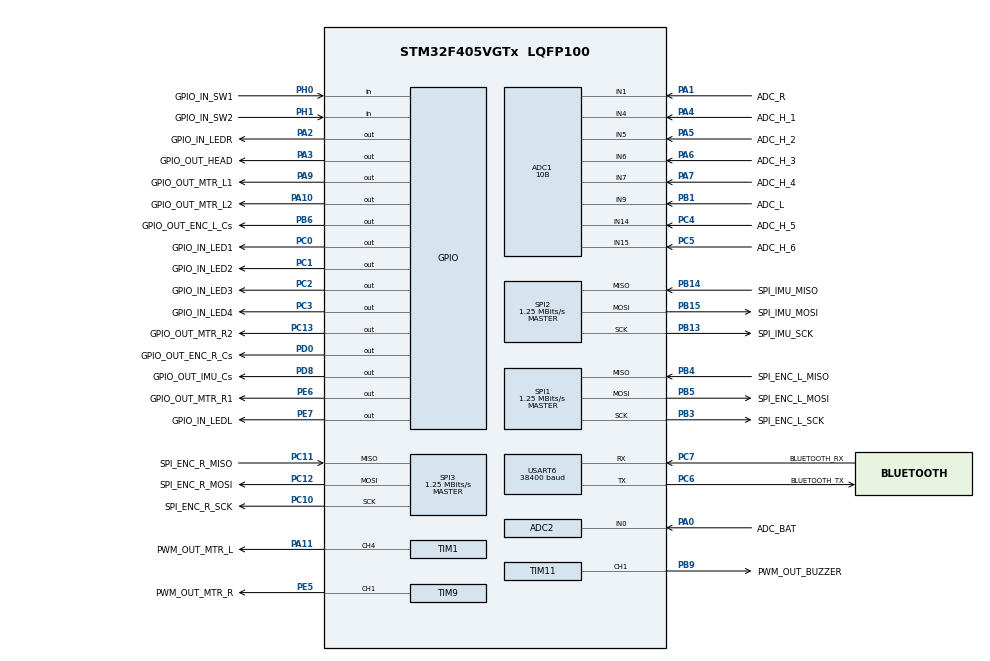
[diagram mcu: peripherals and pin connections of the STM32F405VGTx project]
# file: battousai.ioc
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ADC1.Channel-0\#ChannelRegularConversion=ADC_CHANNEL_9
ADC1.Channel-1\#ChannelRegularConversion=ADC_CHANNEL_15
ADC1.Channel-2\#ChannelRegularConversion=ADC_CHANNEL_7
ADC1.Channel-3\#ChannelRegularConversion=ADC_CHANNEL_14
ADC1.Channel-4\#ChannelRegularConversion=ADC_CHANNEL_6
ADC1.Channel-5\#ChannelRegularConversion=ADC_CHANNEL_1
ADC1.Channel-6\#ChannelRegularConversion=ADC_CHANNEL_4
ADC1.Channel-7\#ChannelRegularConversion=ADC_CHANNEL_5
ADC1.ClockPrescaler=ADC_CLOCK_SYNC_PCLK_DIV4
ADC1.DMAContinuousRequests=ENABLE
ADC1.NbrOfConversion=8
ADC1.NbrOfConversionFlag=1
ADC1.Rank-0\#ChannelRegularConversion=1
ADC1.Rank-1\#ChannelRegularConversion=2
ADC1.Rank-2\#ChannelRegularConversion=3
ADC1.Rank-3\#ChannelRegularConversion=4
ADC1.Rank-4\#ChannelRegularConversion=5
ADC1.Rank-5\#ChannelRegularConversion=6
ADC1.Rank-6\#ChannelRegularConversion=7
ADC1.Rank-7\#ChannelRegularConversion=8
ADC1.Resolution=ADC_RESOLUTION_10B
ADC1.SamplingTime-0\#ChannelRegularConversion=ADC_SAMPLETIME_56CYCLES
ADC1.SamplingTime-1\#ChannelRegularConversion=ADC_SAMPLETIME_56CYCLES
ADC1.SamplingTime-2\#ChannelRegularConversion=ADC_SAMPLETIME_56CYCLES
ADC1.SamplingTime-3\#ChannelRegularConversion=ADC_SAMPLETIME_56CYCLES
ADC1.SamplingTime-4\#ChannelRegularConversion=ADC_SAMPLETIME_56CYCLES
ADC1.SamplingTime-5\#ChannelRegularConversion=ADC_SAMPLETIME_56CYCLES
ADC1.SamplingTime-6\#ChannelRegularConversion=ADC_SAMPLETIME_56CYCLES
ADC1.SamplingTime-7\#ChannelRegularConversion=ADC_SAMPLETIME_56CYCLES
ADC1.ScanConvMode=ENABLE
ADC1.master=1
ADC2.Channel-1\#ChannelRegularConversion=ADC_CHANNEL_0
ADC2.ClockPrescaler=ADC_CLOCK_SYNC_PCLK_DIV4
ADC2.NbrOfConversionFlag=1
ADC2.Rank-1\#ChannelRegularConversion=1
ADC2.Resolution=ADC_RESOLUTION_10B
ADC2.SamplingTime-1\#ChannelRegularConversion=ADC_SAMPLETIME_28CYCLES
Dma.ADC1.0.Direction=DMA_PERIPH_TO_MEMORY
Dma.ADC1.0.FIFOMode=DMA_FIFOMODE_DISABLE
Dma.ADC1.0.Instance=DMA2_Stream0
Dma.ADC1.0.MemDataAlignment=DMA_MDATAALIGN_HALFWORD
Dma.ADC1.0.MemInc=DMA_MINC_ENABLE
Dma.ADC1.0.Mode=DMA_NORMAL
Dma.ADC1.0.PeriphDataAlignment=DMA_PDATAALIGN_HALFWORD
Dma.ADC1.0.PeriphInc=DMA_PINC_DISABLE
Dma.ADC1.0.Priority=DMA_PRIORITY_MEDIUM
Dma.Request0=ADC1
Mcu.Family=STM32F4
Mcu.Name=STM32F405VGTx
Mcu.Package=LQFP100
NVIC.DMA2_Stream0_IRQn=true\:0\:0\:false\:false\:true\:false\:true
NVIC.PriorityGroup=NVIC_PRIORITYGROUP_4
NVIC.TIM5_IRQn=true\:0\:0\:false\:false\:true\:true\:true
PA0-WKUP.GPIO_Label=ADC_BAT
PA0-WKUP.Signal=ADCx_IN0
PA1.GPIO_Label=ADC_R
PA1.Signal=ADCx_IN1
PA10.GPIO_Label=GPIO_OUT_MTR_L2
PA10.Signal=GPIO_Output
PA11.GPIO_Label=PWM_OUT_MTR_L
PA11.Signal=S_TIM1_CH4
PA13.Mode=Serial_Wire
PA13.Signal=SYS_JTMS-SWDIO
PA14.Mode=Serial_Wire
PA14.Signal=SYS_JTCK-SWCLK
PA2.GPIO_Label=GPIO_IN_LEDR
PA2.Signal=GPIO_Output
PA3.GPIO_Label=GPIO_OUT_HEAD
PA3.Signal=GPIO_Output
PA4.GPIO_Label=ADC_H_1
PA4.Signal=ADCx_IN4
PA5.GPIO_Label=ADC_H_2
PA5.Signal=ADCx_IN5
PA6.GPIO_Label=ADC_H_3
PA6.Signal=ADCx_IN6
PA7.GPIO_Label=ADC_H_4
PA7.Signal=ADCx_IN7
PA9.GPIO_Label=GPIO_OUT_MTR_L1
PA9.Signal=GPIO_Output
PB1.GPIO_Label=ADC_L
PB1.Signal=ADCx_IN9
PB13.GPIO_Label=SPI_IMU_SCK
PB13.Mode=Full_Duplex_Master
PB13.Signal=SPI2_SCK
PB14.GPIO_Label=SPI_IMU_MISO
PB14.Mode=Full_Duplex_Master
PB14.Signal=SPI2_MISO
PB15.GPIO_Label=SPI_IMU_MOSI
PB15.Mode=Full_Duplex_Master
PB15.Signal=SPI2_MOSI
PB3.GPIO_Label=SPI_ENC_L_SCK
PB3.Mode=Full_Duplex_Master
PB3.Signal=SPI1_SCK
PB4.GPIO_Label=SPI_ENC_L_MISO
PB4.Mode=Full_Duplex_Master
PB4.Signal=SPI1_MISO
PB5.GPIO_Label=SPI_ENC_L_MOSI
PB5.Mode=Full_Duplex_Master
PB5.Signal=SPI1_MOSI
PB6.GPIO_Label=GPIO_OUT_ENC_L_Cs
PB6.Signal=GPIO_Output
PB9.GPIO_Label=PWM_OUT_BUZZER
PB9.Signal=S_TIM11_CH1
PC0.GPIO_Label=GPIO_IN_LED1
PC0.Signal=GPIO_Output
PC1.GPIO_Label=GPIO_IN_LED2
PC1.Signal=GPIO_Output
PC10.GPIO_Label=SPI_ENC_R_SCK
PC10.Mode=Full_Duplex_Master
PC10.Signal=SPI3_SCK
PC11.GPIO_Label=SPI_ENC_R_MISO
PC11.Mode=Full_Duplex_Master
PC11.Signal=SPI3_MISO
PC12.GPIO_Label=SPI_ENC_R_MOSI
PC12.Mode=Full_Duplex_Master
PC12.Signal=SPI3_MOSI
PC13-ANTI_TAMP.GPIO_Label=GPIO_OUT_MTR_R2
PC13-ANTI_TAMP.Signal=GPIO_Output
PC2.GPIO_Label=GPIO_IN_LED3
PC2.Signal=GPIO_Output
PC3.GPIO_Label=GPIO_IN_LED4
PC3.Signal=GPIO_Output
PC4.GPIO_Label=ADC_H_5
PC4.Signal=ADCx_IN14
PC5.GPIO_Label=ADC_H_6
PC5.Signal=ADCx_IN15
PC6.GPIO_Label=BLUETOOTH_TX
PC6.Mode=Asynchronous
PC6.Signal=USART6_TX
PC7.GPIO_Label=BLUETOOTH_RX
PC7.Mode=Asynchronous
PC7.Signal=USART6_RX
PD0.GPIO_Label=GPIO_OUT_ENC_R_Cs
PD0.Signal=GPIO_Output
PD8.GPIO_Label=GPIO_OUT_IMU_Cs
PD8.Signal=GPIO_Output
PE5.GPIO_Label=PWM_OUT_MTR_R
PE5.Signal=S_TIM9_CH1
PE6.GPIO_Label=GPIO_OUT_MTR_R1
PE6.Signal=GPIO_Output
PE7.GPIO_Label=GPIO_IN_LEDL
PE7.Signal=GPIO_Output
PH0-OSC_IN.GPIO_Label=GPIO_IN_SW1
PH0-OSC_IN.Signal=GPIO_Input
PH1-OSC_OUT.GPIO_Label=GPIO_IN_SW2
PH1-OSC_OUT.Signal=GPIO_Input
ProjectManager.HeapSize=0x200
ProjectManager.StackSize=0x400
ProjectManager.TargetToolchain=SW4STM32
RCC.48MHZClocksFreq_Value=80000000
RCC.AHBFreq_Value=160000000
RCC.APB1CLKDivider=RCC_HCLK_DIV4
RCC.APB1Freq_Value=40000000
RCC.APB1TimFreq_Value=80000000
RCC.APB2CLKDivider=RCC_HCLK_DIV2
RCC.APB2Freq_Value=80000000
RCC.APB2TimFreq_Value=160000000
RCC.CortexFreq_Value=160000000
RCC.HCLKFreq_Value=160000000
RCC.HSE_VALUE=25000000
RCC.HSI_VALUE=16000000
RCC.LSE_VALUE=32768
RCC.PLLM=8
RCC.PLLN=160
RCC.SYSCLKFreq_VALUE=160000000
RCC.SYSCLKSource=RCC_SYSCLKSOURCE_PLLCLK
RCC.VCOOutputFreq_Value=320000000
SH.ADCx_IN0.0=ADC2_IN0,IN0
SH.ADCx_IN1.0=ADC1_IN1,IN1
SH.ADCx_IN14.0=ADC1_IN14,IN14
SH.ADCx_IN15.0=ADC1_IN15,IN15
SH.ADCx_IN4.0=ADC1_IN4,IN4
SH.ADCx_IN5.0=ADC1_IN5,IN5
SH.ADCx_IN6.0=ADC1_IN6,IN6
SH.ADCx_IN7.0=ADC1_IN7,IN7
SH.ADCx_IN9.0=ADC1_IN9,IN9
SH.S_TIM11_CH1.0=TIM11_CH1,PWM Generation1 CH1
SH.S_TIM1_CH4.0=TIM1_CH4,PWM Generation4 CH4
SH.S_TIM9_CH1.0=TIM9_CH1,PWM Generation1 CH1
SPI1.BaudRatePrescaler=SPI_BAUDRATEPRESCALER_64
SPI1.CLKPhase=SPI_PHASE_2EDGE
SPI1.CLKPolarity=SPI_POLARITY_HIGH
SPI1.CalculateBaudRate=1.25 MBits/s
SPI1.Direction=SPI_DIRECTION_2LINES
SPI1.Mode=SPI_MODE_MASTER
SPI1.VirtualType=VM_MASTER
SPI2.BaudRatePrescaler=SPI_BAUDRATEPRESCALER_32
SPI2.CLKPhase=SPI_PHASE_2EDGE
SPI2.CLKPolarity=SPI_POLARITY_HIGH
SPI2.CalculateBaudRate=1.25 MBits/s
SPI2.Direction=SPI_DIRECTION_2LINES
SPI2.Mode=SPI_MODE_MASTER
SPI2.VirtualType=VM_MASTER
SPI3.BaudRatePrescaler=SPI_BAUDRATEPRESCALER_32
SPI3.CLKPhase=SPI_PHASE_2EDGE
SPI3.CLKPolarity=SPI_POLARITY_HIGH
SPI3.CalculateBaudRate=1.25 MBits/s
SPI3.Direction=SPI_DIRECTION_2LINES
SPI3.Mode=SPI_MODE_MASTER
SPI3.VirtualType=VM_MASTER
TIM1.Channel-PWM\ Generation4\ CH4=TIM_CHANNEL_4
TIM1.OCFastMode_PWM-PWM\ Generation4\ CH4=TIM_OCFAST_DISABLE
TIM1.Period=1599
TIM11.Channel=TIM_CHANNEL_1
TIM11.Period=99
TIM11.Prescaler=799
TIM5.Period=999
TIM5.Prescaler=79
TIM9.Channel-PWM\ Generation1\ CH1=TIM_CHANNEL_1
TIM9.Period=1599
USART6.BaudRate=38400
USART6.VirtualMode=VM_ASYNC
VP_TIM11_VS_ClockSourceINT.Mode=Enable_Timer
VP_TIM5_VS_ClockSourceINT.Mode=Internal
board=custom

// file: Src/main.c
/* USER CODE BEGIN Header */
/**
 ******************************************************************************
 * @file           : main.c
 * @brief          : Main program body
 ******************************************************************************
 * @attention
 *
 * <h2><center>&copy; Copyright (c) 2021 STMicroelectronics.
 * All rights reserved.</center></h2>
 *
 * This software component is licensed by ST under BSD 3-Clause license,
 * the "License"; You may not use this file except in compliance with the
 * License. You may obtain a copy of the License at:
 *                        opensource.org/licenses/BSD-3-Clause
 *
 ******************************************************************************
 */
/* USER CODE END Header */

#include <Peripheral/Config.h>
#include "main.h"
#include "adc.h"
#include "dma.h"
#include "spi.h"
#include "tim.h"
#include "usart.h"
#include "gpio.h"

/* USER CODE BEGIN Includes */
#include <stdio.h>
#include <stdint.h>
/* USER CODE END Includes */

/* USER CODE BEGIN PTD */
#ifdef __GNUC__
#define PUTCHAR_PROTOTYPE int __io_putchar(int ch)
#define  GETCHAR_PROTOTYPE  int  __io_getchar ( void )
#else
#define PUTCHAR_PROTOTYPE int fputc(int ch, FILE *f)
#define GETCHAR_PROTOTYPE int f getc(FILE* f)
#endif /* __GNUC__ */
/* USER CODE END PTD */

void SystemClock_Config(void);

int main(void)
{
  /* USER CODE BEGIN 1 */
	void SysTick_Handler(void)
	{
		clock_tick();
	}
	//coloque o código da interrupção
	void TIM5_IRQHandler(void){

	}
  /* USER CODE END 1 */

  /* MCU Configuration--------------------------------------------------------*/

  /* Reset of all peripherals, Initializes the Flash interface and the Systick. */
  HAL_Init();

  /* Configure the system clock */
  SystemClock_Config();

  /* Initialize all configured peripherals */
  MX_GPIO_Init();
  MX_DMA_Init();
  MX_ADC1_Init();
  MX_SPI1_Init();
  MX_SPI2_Init();
  MX_SPI3_Init();
  MX_USART6_UART_Init();
  MX_ADC2_Init();
  MX_TIM1_Init();
  MX_TIM5_Init();
  MX_TIM9_Init();
  MX_TIM11_Init();
  /* USER CODE BEGIN 2 */
	LL_SYSTICK_EnableIT();
	setbuf( stdout, NULL);
	setbuf( stdin, NULL);
  /* USER CODE END 2 */

  /* Infinite loop */
	while (1)
	{

    /* USER CODE BEGIN 3 */
//		if(read_flag_2() == 1){
//			//leitura_adc();
//			//leitura_gyro();
//		}

	}
  /* USER CODE END 3 */
}

void SystemClock_Config(void)
{
  LL_FLASH_SetLatency(LL_FLASH_LATENCY_5);

  if(LL_FLASH_GetLatency() != LL_FLASH_LATENCY_5)
  {
  Error_Handler();
  }
  LL_PWR_SetRegulVoltageScaling(LL_PWR_REGU_VOLTAGE_SCALE1);
  LL_RCC_HSI_SetCalibTrimming(16);
  LL_RCC_HSI_Enable();

   /* Wait till HSI is ready */
  while(LL_RCC_HSI_IsReady() != 1)
  {

  }
  LL_RCC_PLL_ConfigDomain_SYS(LL_RCC_PLLSOURCE_HSI, LL_RCC_PLLM_DIV_8, 160, LL_RCC_PLLP_DIV_2);
  LL_RCC_PLL_Enable();

   /* Wait till PLL is ready */
  while(LL_RCC_PLL_IsReady() != 1)
  {

  }
  LL_RCC_SetAHBPrescaler(LL_RCC_SYSCLK_DIV_1);
  LL_RCC_SetAPB1Prescaler(LL_RCC_APB1_DIV_4);
  LL_RCC_SetAPB2Prescaler(LL_RCC_APB2_DIV_2);
  LL_RCC_SetSysClkSource(LL_RCC_SYS_CLKSOURCE_PLL);

   /* Wait till System clock is ready */
  while(LL_RCC_GetSysClkSource() != LL_RCC_SYS_CLKSOURCE_STATUS_PLL)
  {

  }
  LL_SetSystemCoreClock(160000000);
}

/* USER CODE BEGIN 4 */
void __io_putchar(uint8_t ch)
{
	HAL_UART_Transmit(&huart6, &ch, 1, 1);
}
int __io_getchar(void)
{
	HAL_StatusTypeDef Status = HAL_BUSY;
	uint8_t Data;

	while (Status != HAL_OK)
		Status = HAL_UART_Receive(&huart6, &Data, 1, 10);

	return (Data);
}
void IRQ_Start()
{
  LL_TIM_EnableIT_UPDATE(TIM5);
  LL_TIM_EnableCounter(TIM5);
}
/* USER CODE END 4 */

void Error_Handler(void)
{
}

/************************ (C) COPYRIGHT STMicroelectronics *****END OF FILE****/
